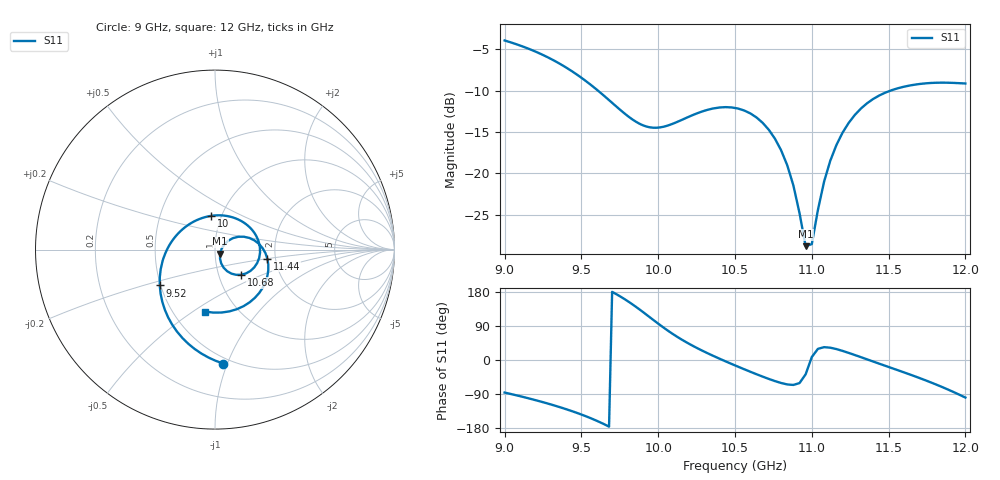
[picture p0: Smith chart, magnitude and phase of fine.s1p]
! yapnr rf: antenna-x10, footprint re-simulated (refine 2)
! spec sha256 6d76e102596c44698a476305de89e6432791258e8245bcfd53b0e58c02666d0d
! 1 ports renormalized to 50 ohm, e^(+jwt) convention
# GHz S RI R 50
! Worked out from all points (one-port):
!   126 points, 9 GHz to 12 GHz, reference 50 ohm
!   lowest |S11| = -28.8 dB at 10.96 GHz (marker M1), VSWR 1.08, Z = 52.9 - j2.36 ohm
!   |S11| at or under -10 dB: 9.608 GHz to 11.51 GHz (1.903 GHz wide, 18 % of centre)
!   S11 on the Smith chart (normalised r, x): 9 GHz: 0.45, -0.97; 9.52 GHz: 0.49, -0.23; 10 GHz: 0.90, +0.35; 10.68 GHz: 1.28, -0.37; 11.44 GHz: 1.81, -0.20; 12 GHz: 0.71, -0.56
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9  0.0451 -0.6346
9.2  -0.1487 -0.5248
9.4  -0.2791 -0.3361
9.52  -0.3078 -0.1999
9.64  -0.2919 -0.0629
9.75  -0.2385 0.0491
9.89  -0.1265 0.1515
10  -0.0196 0.1882
10.13  0.1042 0.1778
10.25  0.1948 0.1226
10.35  0.2402 0.0532
10.52  0.2351 -0.0747
10.68  0.1459 -0.1402
10.8  0.0678 -0.1205
10.84  0.0483 -0.1012
10.88  0.0347 -0.0773
10.92  0.028 -0.0503
10.96  0.0288 -0.0222
11  0.0371 0.00507
11.04  0.0525 0.0296
11.08  0.0741 0.0498
11.12  0.1004 0.0641
11.2  0.1608 0.0718
11.28  0.2197 0.0514
11.44  0.2918 -0.0506
11.64  0.2665 -0.2116
11.84  0.1218 -0.332
12  -0.0555 -0.3451
